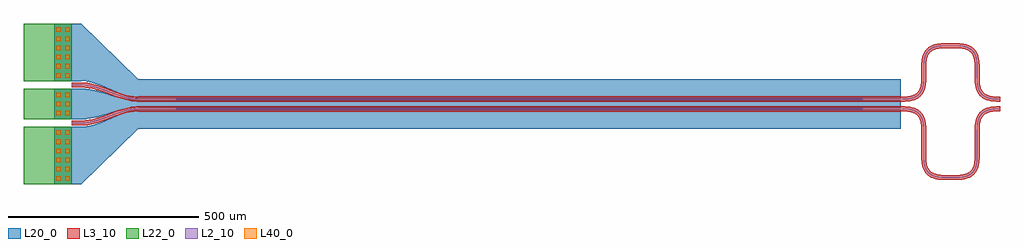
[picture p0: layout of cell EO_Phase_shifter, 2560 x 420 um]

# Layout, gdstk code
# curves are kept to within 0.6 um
from math import pi, radians
import gdstk
lib = gdstk.Library(unit=1e-6, precision=1e-09)
def R(c, l, rs):  # rectangles x0, y0, x1, y1
    for r in rs: c.add(gdstk.rectangle(r[:2], r[2:], *l))
def A(c, l, x, y, w, h, nx, ny, dx, dy):  # array of equal rectangles
    R(c, l, [(x+i*dx, y+j*dy, x+i*dx+w, y+j*dy+h) for i in range(nx) for j in range(ny)])
def P(c, l, *ps):  # polygons
    for p in ps: c.add(gdstk.Polygon(p, *l))
L2_10 = (2, 10)
L3_10 = (3, 10)
L20_0 = (20, 0)
L22_0 = (22, 0)
L40_0 = (40, 0)

unnamed_130 = lib.new_cell('Unnamed_130')
P(unnamed_130, L20_0, [(0,-210),(0,-60),(32.024,-59.755),(53.472,-56.172),(76.905,-48.388),(120.892,-29.077),(139.119,-22.084),(158.204,-17.082),(175,-15.5),(175,-65.5),(25,-210)],
  [(0,-40),(0,40),(30.08,39.883),(49.469,37.687),(72.958,32.425),(137.498,14.63),(157.716,11.095),(175,10),(175,-10),(157.716,-11.095),(137.498,-14.63),(72.958,-32.425),(49.469,-37.687),(30.08,-39.883)],
  [(175,15.5),(158.204,17.082),(139.119,22.084),(120.892,29.077),(76.905,48.388),(53.472,56.172),(32.024,59.755),(0,60),(0,210),(25,210),(175,65.5)])

unnamed_131 = lib.new_cell('Unnamed_131')
P(unnamed_131, L2_10, [(175,12.4),(170.573,12.495),(166.55,12.74),(162.125,13.174),(157.702,13.768),(153.279,14.511),(148.053,15.566),(142.829,16.794),(138.008,18.066),(129.173,20.689),(119.538,23.891),(109.505,27.48),(86.646,35.925),(74.623,40.099),(68.614,42.018),(62.606,43.787),(57.001,45.277),(51.397,46.587),(46.995,47.476),(42.194,48.29),(37.394,48.927),(32.995,49.343),(25.799,49.647),(0,49.65),(0,50.35),(25.805,50.347),(31.438,50.151),(36.266,49.753),(41.494,49.102),(46.721,48.239),(51.947,47.184),(57.171,45.956),(63.197,44.348),(68.82,42.687),(75.244,40.631),(86.884,36.583),(110.548,27.844),(119.366,24.692),(128.983,21.483),(136.993,19.076),(146.202,16.701),(154.606,14.984),(159.807,14.172),(165.406,13.539),(170.203,13.212),(175,13.1)])
P(unnamed_131, L3_10, [(175,6.4),(156.802,7.836),(136.823,12.169),(72.348,34.531),(49.741,40.806),(30.652,43.485),(0,43.65),(0,56.35),(31.804,56.14),(52.398,53.225),(76.315,46.595),(139.403,24.632),(158.324,20.451),(175,19.1)])

unnamed_132 = lib.new_cell('Unnamed_132')
P(unnamed_132, L2_10, [(0,-50.35),(0,-49.65),(25.799,-49.647),(32.995,-49.343),(37.394,-48.927),(42.194,-48.29),(46.995,-47.476),(51.397,-46.587),(57.001,-45.277),(62.606,-43.787),(68.614,-42.018),(74.623,-40.099),(86.646,-35.925),(109.505,-27.48),(119.538,-23.891),(129.173,-20.689),(138.008,-18.066),(142.829,-16.794),(148.053,-15.566),(153.279,-14.511),(157.702,-13.768),(162.125,-13.174),(166.55,-12.74),(170.573,-12.495),(175,-12.4),(175,-13.1),(170.203,-13.212),(165.406,-13.539),(159.807,-14.172),(154.606,-14.984),(146.202,-16.701),(136.993,-19.076),(128.983,-21.483),(119.366,-24.692),(110.548,-27.844),(86.884,-36.583),(75.244,-40.631),(68.82,-42.687),(63.197,-44.348),(57.171,-45.956),(51.947,-47.184),(46.721,-48.239),(41.494,-49.102),(36.266,-49.753),(31.438,-50.151),(25.805,-50.347)])
P(unnamed_132, L3_10, [(0,-56.35),(0,-43.65),(30.652,-43.485),(49.741,-40.806),(72.348,-34.531),(136.823,-12.169),(156.802,-7.836),(175,-6.4),(175,-19.1),(158.324,-20.451),(139.403,-24.632),(76.315,-46.595),(52.398,-53.225),(31.804,-56.14)])

straight_gdsfactorypcomp = lib.new_cell('straight_gdsfactorypcomponentspwaveguidespstraight_L80__6c11ce8a')
R(straight_gdsfactorypcomp, L22_0, [(0,-210,80,-60), (0,-40,80,40), (0,-40,80,40), (0,60,80,210)])

via_array_cxxs_87ffb37b_ = lib.new_cell('via_array_CXxs_87ffb37b_LO40_0_LM22_0_OO2p5_OS12_S12_W45')
R(via_array_cxxs_87ffb37b_, L20_0, [(-45,-210,0,-60), (-45,-40,0,40), (-45,60,0,210)])
R(via_array_cxxs_87ffb37b_, L22_0, [(-45,-210,0,-60), (-45,-40,0,40), (-45,60,0,210)])
A(via_array_cxxs_87ffb37b_, L40_0, -40.5, -201, 12, 12, 1, 6, 0, 24)
A(via_array_cxxs_87ffb37b_, L40_0, -16.5, -201, 12, 12, 1, 6, 0, 24)
A(via_array_cxxs_87ffb37b_, L40_0, -40.5, -30, 12, 12, 1, 3, 0, 24)
A(via_array_cxxs_87ffb37b_, L40_0, -16.5, -30, 12, 12, 1, 3, 0, 24)
A(via_array_cxxs_87ffb37b_, L40_0, -40.5, 69, 12, 12, 1, 6, 0, 24)
A(via_array_cxxs_87ffb37b_, L40_0, -16.5, 69, 12, 12, 1, 6, 0, 24)

m2_bonding_pads_pxxs_87f = lib.new_cell('m2_bonding_pads_PXxs_87ffb37b_LM22_0_LO40_0_MOO2p5_OS12_0c7071f5')
m2_bonding_pads_pxxs_87f.add(gdstk.Reference(straight_gdsfactorypcomp, (80,0), rotation=pi))
m2_bonding_pads_pxxs_87f.add(gdstk.Reference(via_array_cxxs_87ffb37b_, (0,0)))

rectangular_cpw_pad_cxxs = lib.new_cell('rectangular_cpw_pad_CXxs_e9ccf5fe_P100_LS25_LT150_GPW15_280b1e35')
rectangular_cpw_pad_cxxs.add(gdstk.Reference(unnamed_130, (0,0)))
rectangular_cpw_pad_cxxs.add(gdstk.Reference(unnamed_131, (0,0)))
rectangular_cpw_pad_cxxs.add(gdstk.Reference(unnamed_132, (0,0)))
rectangular_cpw_pad_cxxs.add(gdstk.Reference(m2_bonding_pads_pxxs_87f, (-45,0), rotation=pi))

straight_cpw_cxxs_e9ccf5 = lib.new_cell('straight_cpw_CXxs_e9ccf5fe_ML2000_OWMXxs_44fbd096_TL100_3f478de8')
P(straight_cpw_cxxs_e9ccf5, L2_10, [(100,-14),(0,-13.1),(0,-12.4),(100,-11.5),(1900,-11.5),(2000,-12.4),(2000,-13.1),(1900,-14)],
  [(100,11.5),(0,12.4),(0,13.1),(100,14),(1900,14),(2000,13.1),(2000,12.4),(1900,11.5)])
R(straight_cpw_cxxs_e9ccf5, L3_10, [(0,-20,2000,-5.5), (0,5.5,2000,20)])
R(straight_cpw_cxxs_e9ccf5, L20_0, [(0,-65.5,2000,-15.5), (0,-10,2000,10), (0,15.5,2000,65.5)])

compensation_section_oxx = lib.new_cell('compensation_section_OXxs_rwg700_CL100_LI20_R60_CS25p5')
P(compensation_section_oxx, L2_10, [(118.309,-193.1),(111.876,-193.045),(106.794,-192.863),(102.056,-192.505),(97.676,-191.951),(93.333,-191.132),(89.709,-190.195),(86.157,-189.006),(83.015,-187.686),(79.689,-185.952),(76.817,-184.108),(74.128,-182.003),(71.663,-179.637),(69.453,-177.032),(67.504,-174.229),(65.815,-171.266),(64.244,-167.861),(62.555,-163.041),(61.268,-157.753),(60.352,-151.707),(59.836,-144.94),(59.651,-135.118),(59.637,-67.679),(59.494,-61.266),(59.123,-55.547),(58.658,-51.532),(58.109,-48.212),(57.47,-45.254),(56.58,-42.013),(55.601,-39.154),(54.442,-36.365),(53.091,-33.666),(51.541,-31.079),(49.787,-28.629),(48.055,-26.587),(46.163,-24.695),(43.856,-22.758),(41.389,-21.027),(38.789,-19.499),(36.079,-18.17),(32.966,-16.916),(30.093,-15.976),(27.169,-15.202),(24.207,-14.579),(20.884,-14.046),(16.868,-13.597),(12.158,-13.286),(7.435,-13.142),(0,-13.1),(0,-12.4),(11.174,-12.544),(15.238,-12.764),(19.294,-13.14),(22.996,-13.656),(26.667,-14.368),(29.964,-15.21),(32.883,-16.143),(36.053,-17.393),(38.819,-18.722),(41.479,-20.254),(44.01,-21.996),(46.129,-23.722),(48.337,-25.863),(50.338,-28.198),(52.127,-30.696),(53.705,-33.33),(55.079,-36.075),(56.256,-38.907),(57.248,-41.807),(58.15,-45.089),(58.859,-48.415),(59.443,-52.107),(59.82,-55.482),(60.179,-60.899),(60.337,-67.674),(60.351,-135.117),(60.536,-144.908),(61.011,-151.294),(61.891,-157.288),(63.132,-162.521),(63.942,-165.083),(64.891,-167.595),(66.284,-170.647),(68.097,-173.857),(70.008,-176.606),(72.173,-179.158),(74.586,-181.473),(77.222,-183.537),(80.04,-185.347),(83.311,-187.051),(86.718,-188.469),(90.229,-189.618),(93.814,-190.522),(98.116,-191.31),(102.461,-191.841),(106.831,-192.164),(112.227,-192.352),(118.309,-192.4),(143.719,-192.395),(151.484,-192.244),(155.524,-192.013),(159.548,-191.625),(162.882,-191.153),(166.186,-190.522),(169.771,-189.618),(173.282,-188.469),(176.993,-186.909),(179.96,-185.347),(182.778,-183.537),(185.414,-181.473),(187.827,-179.158),(189.787,-176.871),(191.541,-174.421),(193.251,-171.539),(194.58,-168.829),(195.834,-165.716),(196.868,-162.521),(197.772,-158.936),(198.457,-155.299),(198.989,-151.294),(199.432,-145.582),(199.634,-138.159),(199.651,-70.382),(199.852,-60.221),(200.39,-53.456),(201.268,-47.747),(201.931,-44.758),(202.652,-42.132),(203.508,-39.546),(204.508,-37.01),(206.132,-33.63),(207.873,-30.696),(209.874,-27.929),(212.136,-25.369),(214.65,-23.055),(217.378,-21.002),(220.282,-19.21),(223.635,-17.531),(227.117,-16.143),(230.691,-15.026),(234.663,-14.085),(238.684,-13.399),(242.732,-12.93),(247.81,-12.586),(252.892,-12.437),(260,-12.4),(260,-13.1),(252.227,-13.148),(246.831,-13.336),(241.791,-13.726),(237.118,-14.347),(233.486,-15.051),(229.907,-15.976),(226.718,-17.031),(223.615,-18.308),(220.331,-19.986),(217.496,-21.771),(214.841,-23.809),(212.403,-26.1),(210.213,-28.629),(208.277,-31.361),(206.592,-34.257),(205.02,-37.595),(204.053,-40.1),(203.226,-42.657),(201.955,-47.882),(201.048,-53.871),(200.536,-60.592),(200.351,-70.383),(200.334,-138.165),(200.148,-145.279),(199.721,-151.031),(199.201,-155.074),(198.527,-158.753),(197.633,-162.387),(196.607,-165.633),(195.357,-168.803),(193.868,-171.87),(192.127,-174.804),(190.338,-177.302),(188.102,-179.885),(185.872,-182.003),(183.183,-184.108),(180.311,-185.952),(177.294,-187.541),(173.843,-189.006),(170.291,-190.195),(166.335,-191.205),(162.996,-191.844),(159.294,-192.36),(155.576,-192.711),(151.512,-192.943),(143.722,-193.095)],
  [(0,12.4),(0,13.1),(11.484,13.256),(15.86,13.513),(19.883,13.916),(25.528,14.838),(30.737,16.17),(33.596,17.149),(36.385,18.308),(38.789,19.499),(41.107,20.847),(43.321,22.356),(45.414,24.027),(47.364,25.859),(49.156,27.847),(50.787,29.972),(52.427,32.501),(53.716,34.853),(54.98,37.595),(56.058,40.417),(56.959,43.302),(57.772,46.564),(58.403,49.868),(59.153,55.882),(59.553,62.952),(59.645,69.031),(59.677,99.181),(59.852,105.279),(60.212,110.356),(61.08,116.751),(62.367,122.387),(63.171,124.989),(64.115,127.546),(65.209,130.044),(66.295,132.17),(68.061,135.089),(69.874,137.571),(71.898,139.885),(74.128,142.003),(76.539,143.909),(79.394,145.779),(82.093,147.243),(85.204,148.635),(88.407,149.793),(91.678,150.736),(94.997,151.482),(98.684,152.101),(102.732,152.57),(107.132,152.881),(117.632,153.099),(143.722,153.095),(149.818,153.003),(157.268,152.57),(163.666,151.73),(167.33,150.979),(170.618,150.098),(173.843,149.006),(176.985,147.686),(180.016,146.122),(182.622,144.498),(185.086,142.662),(187.381,140.614),(189.475,138.362),(191.358,135.933),(193.029,133.356),(194.643,130.351),(196.011,127.229),(197.147,124.018),(198.069,120.742),(198.859,117.085),(199.755,110.694),(200.231,103.246),(200.345,96.472),(200.377,66.328),(200.568,59.918),(200.942,54.876),(201.829,48.543),(203.132,42.979),(203.942,40.417),(204.891,37.905),(205.987,35.455),(207.236,33.081),(209.021,30.246),(210.844,27.847),(212.871,25.621),(215.097,23.594),(217.496,21.771),(220.331,19.986),(223.007,18.591),(226.404,17.149),(229.585,16.072),(232.831,15.202),(236.455,14.46),(240.452,13.875),(244.476,13.487),(248.516,13.256),(260,13.1),(260,12.4),(249.504,12.519),(242.056,12.995),(237.676,13.549),(233.665,14.295),(230.036,15.21),(226.476,16.375),(223.015,17.814),(219.984,19.378),(217.378,21.002),(214.65,23.055),(212.376,25.126),(210.305,27.4),(208.252,30.128),(206.628,32.734),(205.507,34.843),(204.374,37.324),(203.393,39.867),(202.46,42.786),(201.771,45.42),(201.141,48.415),(200.245,54.806),(199.869,59.882),(199.687,65.642),(199.645,96.469),(199.52,103.559),(199.058,110.624),(198.171,116.957),(197.389,120.573),(196.377,124.127),(195.235,127.284),(193.866,130.347),(192.427,132.999),(190.787,135.528),(188.941,137.909),(186.891,140.114),(184.644,142.119),(182.228,143.919),(179.669,145.514),(176.993,146.909),(173.91,148.232),(170.737,149.33),(167.169,150.298),(163.545,151.04),(157.203,151.873),(149.798,152.303),(143.719,152.395),(117.633,152.399),(107.168,152.182),(102.797,151.873),(98.782,151.408),(95.132,150.795),(91.526,149.973),(88.303,149.023),(85.155,147.859),(82.103,146.466),(79.464,145.005),(76.949,143.342),(74.334,141.253),(72.173,139.158),(70.213,136.871),(68.459,134.421),(66.909,131.834),(65.699,129.439),(64.64,126.973),(63.727,124.447),(62.951,121.874),(61.71,116.295),(60.877,109.953),(60.536,104.908),(60.377,99.172),(60.345,69.028),(60.253,62.932),(59.88,56.159),(59.094,49.754),(58.382,46.083),(57.633,43.113),(56.719,40.188),(55.626,37.324),(54.34,34.538),(52.854,31.852),(51.159,29.289),(49.475,27.138),(47.624,25.126),(45.612,23.275),(43.461,21.591),(41.19,20.074),(38.819,18.722),(36.053,17.393),(33.524,16.375),(30.618,15.402),(27.661,14.6),(24.669,13.954),(21.316,13.399),(17.944,12.995),(10.496,12.519)])
P(compensation_section_oxx, L3_10, [(120,-199.1),(98.57,-198.141),(85.478,-195.14),(72.384,-188.299),(62.853,-178.09),(57.61,-167.272),(54.206,-150.569),(53.574,-63.782),(52.58,-51.454),(50.09,-41.547),(44.365,-31.471),(39.536,-27.021),(33.631,-23.648),(21.296,-20.17),(0,-19.1),(0,-6.4),(21.43,-7.359),(34.522,-10.36),(47.616,-17.201),(57.147,-27.41),(62.39,-38.228),(65.794,-54.931),(66.426,-141.718),(67.42,-154.046),(69.91,-163.953),(75.635,-174.029),(80.464,-178.479),(86.369,-181.852),(98.704,-185.33),(120,-186.4),(148.968,-186.324),(164.012,-184.847),(171.203,-182.84),(177.672,-179.724),(185.729,-172.286),(190.09,-163.953),(192.954,-151.276),(193.936,-58.51),(195.764,-44.769),(199.959,-32.53),(208.134,-20.884),(214.66,-15.603),(222.607,-11.444),(238.57,-7.359),(260,-6.4),(260,-19.1),(238.704,-20.17),(226.369,-23.648),(220.464,-27.021),(215.635,-31.471),(209.91,-41.547),(207.42,-51.454),(206.426,-63.782),(205.794,-150.569),(202.39,-167.272),(195.549,-180.366),(189.798,-186.54),(182.645,-191.528),(167.981,-196.986),(150.348,-198.989)],
  [(0,6.4),(0,19.1),(21.296,20.17),(33.631,23.648),(42.886,29.864),(49.102,39.119),(51.567,46.375),(53.255,57.358),(54.609,114.18),(57.61,127.272),(62.853,138.09),(70.202,146.54),(79.78,152.791),(92.019,156.986),(105.76,158.814),(150.348,158.989),(161.43,158.141),(177.393,154.056),(189.798,146.54),(195.549,140.366),(198.778,135.395),(204.236,120.731),(206.239,103.098),(206.745,57.358),(208.433,46.375),(211.902,37.051),(218.721,28.385),(228.797,22.66),(241.474,19.796),(260,19.1),(260,6.4),(238.57,7.359),(228.74,9.34),(217.355,13.972),(210.202,18.96),(202.853,27.41),(197.61,38.228),(194.609,51.32),(193.761,62.402),(193.574,101.718),(192.097,116.762),(188.098,128.449),(181.279,137.115),(171.203,142.84),(158.526,145.704),(111.032,146.324),(95.988,144.847),(84.301,140.848),(77.114,135.636),(70.898,126.381),(68.433,119.125),(66.745,108.142),(65.391,51.32),(62.39,38.228),(55.549,25.134),(47.616,17.201),(34.522,10.36),(21.43,7.359)])

eo_phase_shifter = lib.new_cell('EO_Phase_shifter')
eo_phase_shifter.add(gdstk.Reference(rectangular_cpw_pad_cxxs, (-175,0)))
eo_phase_shifter.add(gdstk.Reference(straight_cpw_cxxs_e9ccf5, (0,0)))
eo_phase_shifter.add(gdstk.Reference(compensation_section_oxx, (2000,0)))

lib.write_gds('EO_Phase_shifter.gds')
